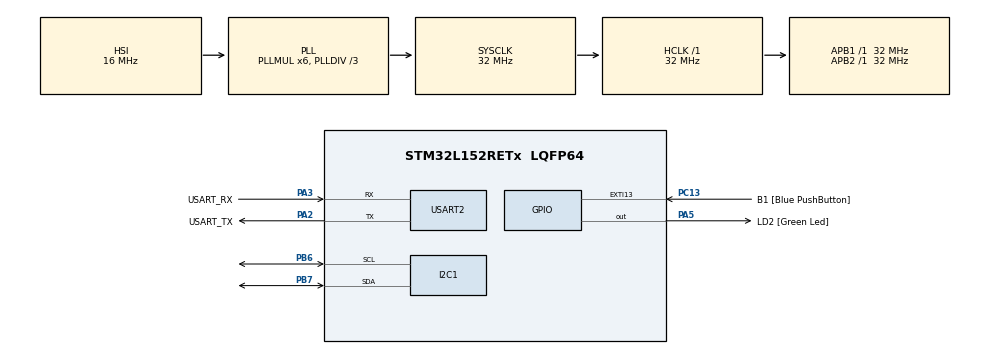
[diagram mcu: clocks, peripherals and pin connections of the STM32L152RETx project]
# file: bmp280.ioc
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Mcu.Family=STM32L1
RCC.MSI_VALUE=2097000
PC15-OSC32_OUT.Mode=LSE-External-Oscillator
PH0-OSC_IN.Signal=RCC_OSC_IN
PA14.GPIO_Label=TCK
PC14-OSC32_IN.Signal=RCC_OSC32_IN
RCC.SYSCLKSource=RCC_SYSCLKSOURCE_PLLCLK
ProjectManager.StackSize=0x400
PA13.Signal=SYS_JTMS-SWDIO
PA3.Mode=Asynchronous
RCC.PLLDIV=RCC_PLL_DIV3
ProjectManager.TargetToolchain=Other Toolchains (GPDSC)
RCC.HCLKFreq_Value=32000000
PC13-WKUP2.GPIO_Label=B1 [Blue PushButton]
RCC.APB2TimFreq_Value=32000000
PB6.Signal=I2C1_SCL
PB6.Mode=I2C
PC15-OSC32_OUT.Signal=RCC_OSC32_OUT
RCC.AHBFreq_Value=32000000
PH0-OSC_IN.Mode=HSE-External-Clock-Source
PA5.Signal=GPIO_Output
RCC.HSE_VALUE=8000000
PC13-WKUP2.Signal=GPXTI13
board=NUCLEO-L152RE
RCC.VCOOutputFreq_Value=96000000
RCC.PLLMUL=RCC_PLL_MUL6
RCC.APB2Freq_Value=32000000
PC14-OSC32_IN.Mode=LSE-External-Oscillator
RCC.RTCClockSelectionVirtual=RCC_RTCCLKSOURCE_LSE
PA14.Mode=Serial_Wire
PH1-OSC_OUT.Signal=RCC_OSC_OUT
PB7.Signal=I2C1_SDA
PA13.Mode=Serial_Wire
Mcu.Name=STM32L152RETx
PA2.Signal=USART2_TX
PA13.GPIO_Label=TMS
RCC.48MHZClocksFreq_Value=48000000
PB3.Signal=SYS_JTDO-TRACESWO
RCC.SYSCLKFreq_VALUE=32000000
Mcu.Package=LQFP64
PA5.GPIO_Label=LD2 [Green Led]
USART2.VirtualMode=VM_ASYNC
RCC.USBOutput=48000000
PA2.GPIO_Label=USART_TX
PB7.Mode=I2C
PA14.Signal=SYS_JTCK-SWCLK
ProjectManager.HeapSize=0x200
RCC.HSI_VALUE=16000000
NVIC.PriorityGroup=NVIC_PRIORITYGROUP_0
RCC.APB1TimFreq_Value=32000000
PA2.Mode=Asynchronous
RCC.APB1Freq_Value=32000000
PA3.GPIO_Label=USART_RX
PA3.Signal=USART2_RX
PB3.GPIO_Label=SWO

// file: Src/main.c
/* USER CODE BEGIN Header */
/**
  ******************************************************************************
  * @file           : main.c
  * @brief          : Main program body
  ******************************************************************************
  * @attention
  *
  * <h2><center>&copy; Copyright (c) 2021 STMicroelectronics.
  * All rights reserved.</center></h2>
  *
  * This software component is licensed by ST under BSD 3-Clause license,
  * the "License"; You may not use this file except in compliance with the
  * License. You may obtain a copy of the License at:
  *                        opensource.org/licenses/BSD-3-Clause
  *
  ******************************************************************************
  */
/* USER CODE END Header */
#include "main.h"
#include "i2c.h"
#include "usart.h"
#include "gpio.h"
#include "bsp_bmp280_port.h"

/* USER CODE BEGIN PV */
int8_t rslt;
struct bmp280_dev bmp;
struct bmp280_config conf;
struct bmp280_uncomp_data ucomp_data;
int32_t temp32;
double temp;

/* USER CODE END PV */

void SystemClock_Config(void);

int main(void)
{

  /* MCU Configuration--------------------------------------------------------*/

  /* Reset of all peripherals, Initializes the Flash interface and the Systick. */
  HAL_Init();

  /* Configure the system clock */
  SystemClock_Config();

  /* Initialize all configured peripherals */
  MX_GPIO_Init();
  MX_I2C1_Init();
  MX_USART2_UART_Init();
  /* USER CODE BEGIN 2 */

  /* Map the delay function pointer with the function responsible for implementing the delay */
  bmp.delay_ms = delay_ms;

  /* Assign device I2C address based on the status of SDO pin (GND for PRIMARY(0x76) & VDD for SECONDARY(0x77)) */
  bmp.dev_id = BMP280_I2C_ADDR_PRIM;

  /* Select the interface mode as I2C */
  bmp.intf = BMP280_I2C_INTF;

  /* Map the I2C read & write function pointer with the functions responsible for I2C bus transfer */
  bmp.read = i2c_reg_read;
  bmp.write = i2c_reg_write;

  /* To enable SPI interface: comment the above 4 lines and uncomment the below 4 lines */

  /*
     * bmp.dev_id = 0;
     * bmp.read = spi_reg_read;
     * bmp.write = spi_reg_write;
     * bmp.intf = BMP280_SPI_INTF;
     */
  rslt = bmp280_init(&bmp);
  print_rslt(" bmp280_init status", rslt);

  /* Always read the current settings before writing, especially when
     * all the configuration is not modified
     */
  rslt = bmp280_get_config(&conf, &bmp);
  print_rslt(" bmp280_get_config status", rslt);

  /* configuring the temperature oversampling, filter coefficient and output data rate */
  /* Overwrite the desired settings */
  conf.filter = BMP280_FILTER_COEFF_2;

  /* Temperature oversampling set at 4x */
  conf.os_temp = BMP280_OS_4X;

  /* Pressure over sampling none (disabling pressure measurement) */
  conf.os_pres = BMP280_OS_NONE;

  /* Setting the output data rate as 1HZ(1000ms) */
  conf.odr = BMP280_ODR_1000_MS;
  rslt = bmp280_set_config(&conf, &bmp);
  print_rslt(" bmp280_set_config status", rslt);

  /* Always set the power mode after setting the configuration */
  rslt = bmp280_set_power_mode(BMP280_NORMAL_MODE, &bmp);
  print_rslt(" bmp280_set_power_mode status", rslt);

  unsigned char DATA[34];
  /* USER CODE END 2 */

  /* Infinite loop */
  /* USER CODE BEGIN WHILE */
  while (1)
  {
    /* Reading the raw data from sensor */
    rslt = bmp280_get_uncomp_data(&ucomp_data, &bmp);

    /* Getting the 32 bit compensated temperature */
    rslt = bmp280_get_comp_temp_32bit(&temp32, ucomp_data.uncomp_temp, &bmp);

    /* Getting the compensated temperature as floating point value */
    rslt = bmp280_get_comp_temp_double(&temp, ucomp_data.uncomp_temp, &bmp);
    printf("UT: %ld, T32: %ld, T: %f \r\n", ucomp_data.uncomp_temp, temp32, temp);
    sprintf((char *)DATA, "UT: %ld, T32: %ld, T: %.2f \r\n", ucomp_data.uncomp_temp, temp32, temp);
    HAL_UART_Transmit(&huart2, DATA, sizeof(DATA), 100);

    /* Sleep time between measurements = BMP280_ODR_1000_MS */
    bmp.delay_ms(1000);
    /* USER CODE END WHILE */

  }
}

void SystemClock_Config(void)
{
  RCC_OscInitTypeDef RCC_OscInitStruct = {0};
  RCC_ClkInitTypeDef RCC_ClkInitStruct = {0};

  /** Configure the main internal regulator output voltage
  */
  __HAL_PWR_VOLTAGESCALING_CONFIG(PWR_REGULATOR_VOLTAGE_SCALE1);
  /** Initializes the RCC Oscillators according to the specified parameters
  * in the RCC_OscInitTypeDef structure.
  */
  RCC_OscInitStruct.OscillatorType = RCC_OSCILLATORTYPE_HSI;
  RCC_OscInitStruct.HSIState = RCC_HSI_ON;
  RCC_OscInitStruct.HSICalibrationValue = RCC_HSICALIBRATION_DEFAULT;
  RCC_OscInitStruct.PLL.PLLState = RCC_PLL_ON;
  RCC_OscInitStruct.PLL.PLLSource = RCC_PLLSOURCE_HSI;
  RCC_OscInitStruct.PLL.PLLMUL = RCC_PLL_MUL6;
  RCC_OscInitStruct.PLL.PLLDIV = RCC_PLL_DIV3;
  if (HAL_RCC_OscConfig(&RCC_OscInitStruct) != HAL_OK)
  {
    Error_Handler();
  }
  /** Initializes the CPU, AHB and APB buses clocks
  */
  RCC_ClkInitStruct.ClockType = RCC_CLOCKTYPE_HCLK | RCC_CLOCKTYPE_SYSCLK | RCC_CLOCKTYPE_PCLK1 | RCC_CLOCKTYPE_PCLK2;
  RCC_ClkInitStruct.SYSCLKSource = RCC_SYSCLKSOURCE_PLLCLK;
  RCC_ClkInitStruct.AHBCLKDivider = RCC_SYSCLK_DIV1;
  RCC_ClkInitStruct.APB1CLKDivider = RCC_HCLK_DIV1;
  RCC_ClkInitStruct.APB2CLKDivider = RCC_HCLK_DIV1;

  if (HAL_RCC_ClockConfig(&RCC_ClkInitStruct, FLASH_LATENCY_1) != HAL_OK)
  {
    Error_Handler();
  }
}

void Error_Handler(void)
{
  __disable_irq();
  while (1)
  {
  }
}

/************************ (C) COPYRIGHT STMicroelectronics *****END OF FILE****/
